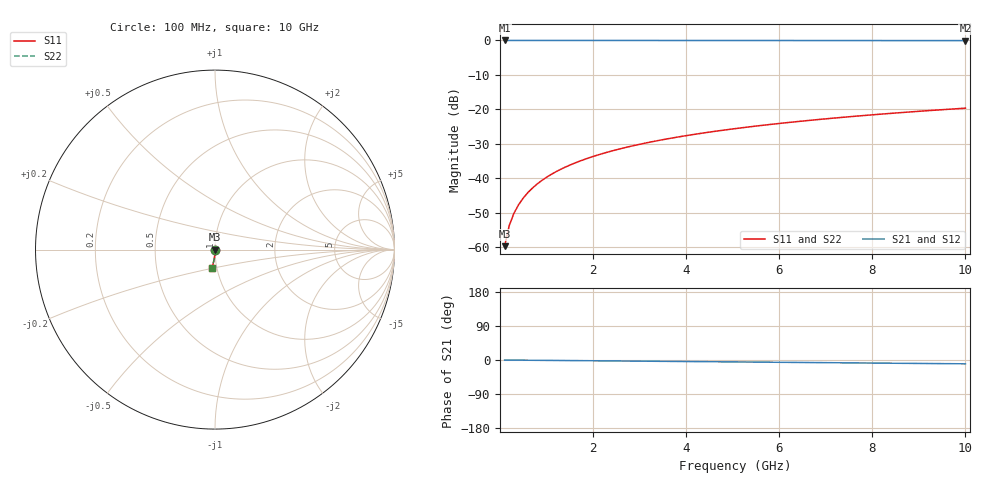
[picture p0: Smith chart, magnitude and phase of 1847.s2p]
# Hz S RI R 50.00
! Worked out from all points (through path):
!   100 points, 100 MHz to 10 GHz, reference 50 ohm
!   highest |S21| = 0.00 dB at 100 MHz (marker M1); lowest = 0.0 dB at 10 GHz (marker M2)
!   group delay of S21, straight-line fit = 2.8 ps
!   lowest |S11| = -59.7 dB at 100 MHz (marker M3), VSWR 1.00, Z = 50 - j0.104 ohm
!   |S11| at or under -10 dB: start of sweep to end of sweep
!   |S22| runs from -59.7 to -19.6 dB; largest |S21 - S12| = 0
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1e8  8.85e-05 -0.00104  0.9999 -0.00174  0.9999 -0.00174  8.85e-05 -0.00104
2e8  8.24e-05 -0.00207  0.9999 -0.00348  0.9999 -0.00348  8.24e-05 -0.00207
3e8  7.25e-05 -0.00311  0.9999 -0.00522  0.9999 -0.00522  7.25e-05 -0.00311
4e8  5.89e-05 -0.00415  0.9999 -0.00696  0.9999 -0.00696  5.89e-05 -0.00415
5e8  4.16e-05 -0.00519  0.9998 -0.0087  0.9998 -0.0087  4.16e-05 -0.00519
6e8  2.07e-05 -0.00622  0.9998 -0.0104  0.9998 -0.0104  2.07e-05 -0.00622
7e8  -3.89e-06 -0.00726  0.9998 -0.0122  0.9998 -0.0122  -3.89e-06 -0.00726
8e8  -3.21e-05 -0.0083  0.9998 -0.0139  0.9998 -0.0139  -3.21e-05 -0.0083
9e8  -6.39e-05 -0.00934  0.9997 -0.0157  0.9997 -0.0157  -6.39e-05 -0.00934
1.1e9  -0.000139 -0.0114  0.9996 -0.0192  0.9996 -0.0192  -0.000139 -0.0114
1.4e9  -0.000278 -0.0145  0.9995 -0.0244  0.9995 -0.0244  -0.000278 -0.0145
1.8e9  -0.000514 -0.0187  0.9992 -0.0314  0.9992 -0.0314  -0.000514 -0.0187
2.1e9  -0.00073 -0.0218  0.999 -0.0366  0.999 -0.0366  -0.00073 -0.0218
2.5e9  -0.00107 -0.026  0.9986 -0.0436  0.9986 -0.0436  -0.00107 -0.026
2.9e9  -0.00147 -0.0301  0.9981 -0.0506  0.9981 -0.0506  -0.00147 -0.0301
3.4e9  -0.00205 -0.0353  0.9975 -0.0593  0.9975 -0.0593  -0.00205 -0.0353
4.2e9  -0.00317 -0.0436  0.9962 -0.0733  0.9962 -0.0733  -0.00317 -0.0436
5.1e9  -0.00471 -0.053  0.9944 -0.089  0.9944 -0.089  -0.00471 -0.053
5.9e9  -0.00633 -0.0612  0.9926 -0.103  0.9926 -0.103  -0.00633 -0.0612
6.7e9  -0.00818 -0.0694  0.9905 -0.117  0.9905 -0.117  -0.00818 -0.0694
8.4e9  -0.0129 -0.0867  0.9851 -0.1465  0.9851 -0.1465  -0.0129 -0.0867
1e10  -0.0183 -0.1027  0.9789 -0.1741  0.9789 -0.1741  -0.0183 -0.1027
